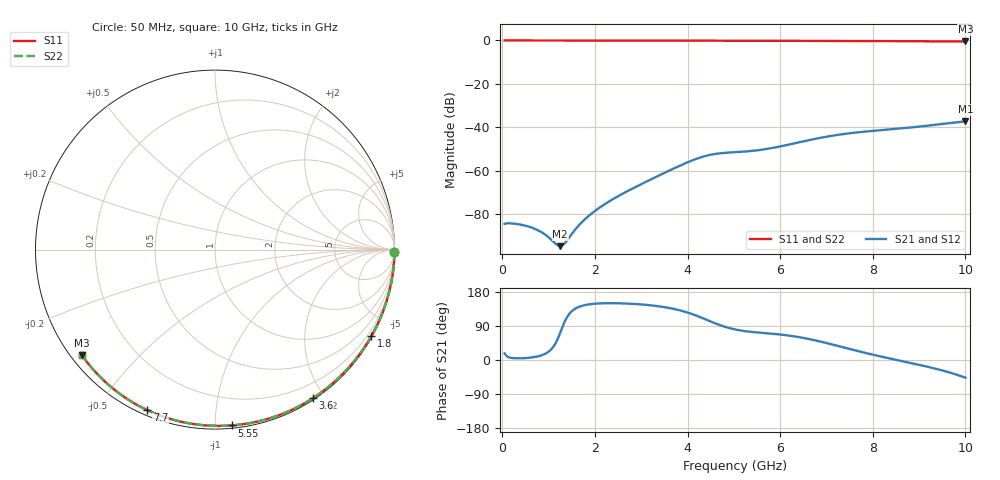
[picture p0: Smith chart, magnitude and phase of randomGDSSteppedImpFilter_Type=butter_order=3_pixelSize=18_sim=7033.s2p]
! freq	dB(S11)	phase(S11)	dB(S12)	phase(S12)
!  dB(S21)	phase(S21)	dB(S22)	phase(S22)
!S-par simulation data
#  GHz  S  DB  R 50
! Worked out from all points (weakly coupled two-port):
!   200 points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, 50 MHz to 10 GHz, reference 50 ohm
!   highest |S21| = -37.30 dB at 10 GHz (marker M1); lowest = -94.8 dB at 1.25 GHz (marker M2)
!   lowest |S11| = -0.5 dB at 10 GHz (marker M3), VSWR 36.88, Z = 1.52 - j17.4 ohm
!   |S11| at or under -10 dB: nowhere
!   |S22| runs from -0.5 to 0.0 dB; largest |S21 - S12| = 0
!   S11 on the Smith chart (normalised r, x): 50 MHz: open; 1.8 GHz: 0.03, -3.86; 3.6 GHz: 0.02, -1.85; 5.55 GHz: 0.02, -1.10; 7.7 GHz: 0.02, -0.66; 10 GHz: 0.03, -0.35
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0.05  -0.00 -0.8  -84.53 17.6  -84.53 17.6  -0.00 -0.8
0.65  -0.01 -10.6  -86.37 6.9  -86.37 6.9  -0.01 -10.6
1.25  -0.02 -20.3  -94.80 71.4  -94.80 71.4  -0.02 -20.3
1.75  -0.04 -28.2  -83.08 143.9  -83.08 143.9  -0.04 -28.2
1.8  -0.04 -29.0  -82.08 145.3  -82.08 145.3  -0.04 -29.0
1.9  -0.04 -30.6  -80.25 147.3  -80.25 147.3  -0.04 -30.6
2.25  -0.05 -36.1  -74.94 149.9  -74.94 149.9  -0.05 -36.1
2.55  -0.06 -40.7  -71.19 149.6  -71.19 149.6  -0.06 -40.7
3.4  -0.07 -53.7  -62.05 141.3  -62.05 141.3  -0.07 -53.7
3.6  -0.07 -56.7  -60.02 137.4  -60.02 137.4  -0.07 -56.7
4.05  -0.09 -63.3  -55.72 123.2  -55.72 123.2  -0.08 -63.3
4.35  -0.09 -67.7  -53.46 109.2  -53.46 109.2  -0.09 -67.7
4.65  -0.10 -72.0  -52.14 94.3  -52.14 94.3  -0.10 -72.0
5.05  -0.12 -77.6  -51.46 80.0  -51.46 80.0  -0.12 -77.6
5.55  -0.14 -84.5  -50.50 72.2  -50.50 72.2  -0.14 -84.5
5.95  -0.16 -89.9  -49.06 67.9  -49.06 67.9  -0.16 -89.9
6.7  -0.19 -99.9  -45.59 53.4  -45.59 53.4  -0.19 -99.9
7.2  -0.22 -106.4  -43.65 38.6  -43.65 38.6  -0.22 -106.4
7.7  -0.26 -112.8  -42.29 22.9  -42.29 22.9  -0.26 -112.8
8.35  -0.31 -121.0  -41.01 4.4  -41.01 4.4  -0.31 -121.0
9.2  -0.39 -131.7  -39.24 -18.4  -39.24 -18.4  -0.39 -131.7
10  -0.47 -141.6  -37.30 -46.6  -37.30 -46.6  -0.47 -141.6
